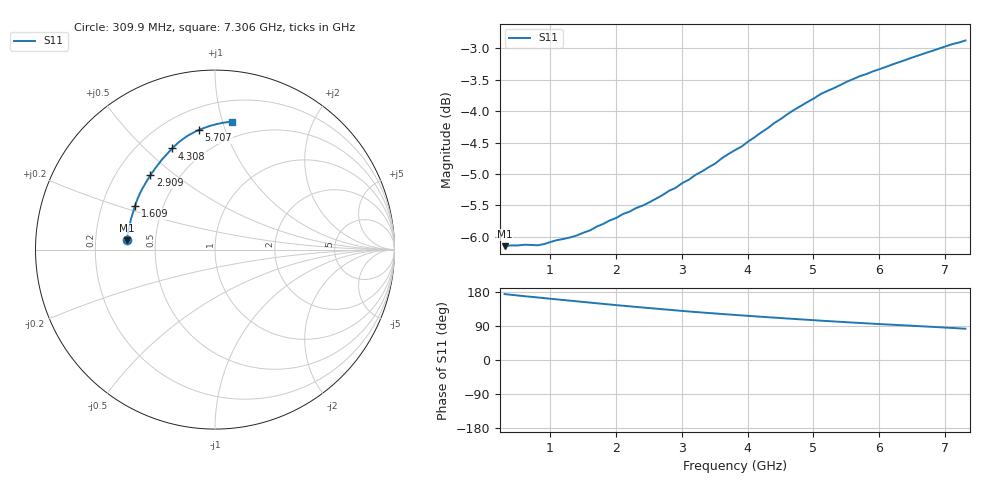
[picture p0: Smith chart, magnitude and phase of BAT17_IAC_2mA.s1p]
! Infineon Technologies  Discrete & RF Semiconductors
! BAT17
! IAC = 2 mA
! One-Port S-Parameters
# Hz  S  MA  R  50
!f  S11
!Hz  Mag  Ang
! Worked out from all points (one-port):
!   71 points, 309.9 MHz to 7.306 GHz, reference 50 ohm
!   lowest |S11| = -6.1 dB at 309.9 MHz (marker M1), VSWR 2.94, Z = 17 + j2.35 ohm
!   |S11| at or under -10 dB: nowhere
!   S11 on the Smith chart (normalised r, x): 309.9 MHz: 0.34, +0.05; 1.609 GHz: 0.35, +0.23; 2.909 GHz: 0.35, +0.41; 4.308 GHz: 0.34, +0.61; 5.707 GHz: 0.34, +0.82; 7.306 GHz: 0.36, +1.07
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3.0985e8  0.4928 173.9
6.097e8  0.494 168.4
8.096e8  0.4935 165.0
1.10945e9  0.4983 159.9
1.2094e9  0.4994 158.2
1.6092e9  0.5072 151.4
1.90905e9  0.5166 146.4
2.10895e9  0.5227 143.2
2.6087e9  0.5375 135.5
2.70865e9  0.5411 133.9
2.8086e9  0.5454 132.5
2.90855e9  0.5484 131.0
3.0085e9  0.5532 129.5
3.2084e9  0.5615 126.7
3.50825e9  0.5732 122.8
3.6082e9  0.5788 121.4
3.8081e9  0.5875 119.0
4.30785e9  0.6117 112.9
4.70765e9  0.6325 108.4
5.10745e9  0.6509 103.8
5.6072e9  0.6692 98.6
5.70715e9  0.6728 97.7
6.2069e9  0.6874 93.0
6.50675e9  0.6962 90.2
6.90655e9  0.7075 86.5
7.0065e9  0.7103 85.5
7.10645e9  0.7132 84.6
7.30635e9  0.718 82.5
